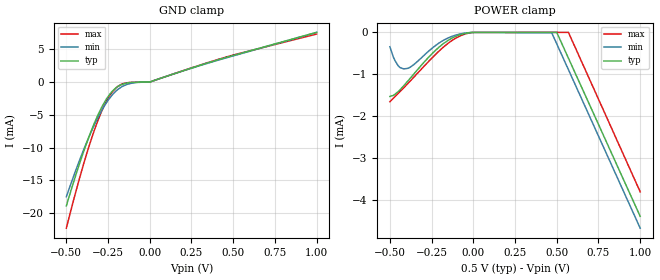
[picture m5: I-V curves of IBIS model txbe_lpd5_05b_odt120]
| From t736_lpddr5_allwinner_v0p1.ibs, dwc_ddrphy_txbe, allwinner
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[Model] txbe_lpd5_05b_odt120
Model_type   Input
Polarity   Non-Inverting
Enable   Active-High
C_comp   943.794fF   935.723fF   957.368fF
C_comp_pullup   283.296fF   275.765fF   286.366fF
C_comp_pulldown   525.211fF   523.203fF   536.037fF
Vinh = 310.000mV
Vinl = 190.000mV
[Model Spec]
D_overshoot_ampl_h 0.1 NA   NA
D_overshoot_ampl_l 0.1 NA   NA
D_overshoot_area_l 300.000m NA   NA
D_overshoot_area_h 300.000m NA   NA
[Receiver Thresholds]
Vth = 125.000mV
Vth_min = 118.000mV
Vth_max = 143.000mV
Vinh_ac = 60.000mV
Vinh_dc = 60.000mV
Vinl_ac = -60.000mV
Vinl_dc = -60.000mV
Tslew_ac = 5.000ns
Threshold_sensitivity = 0.5
Reference_supply Power_clamp_ref
[Temperature Range]   25.000   125.000   -40.000
[Voltage Range]   500.000mV   470.000mV   570.000mV
[GND Clamp Reference]   0.00V   0.00V   0.00V
[C Comp Corner]
| variable   typ   min   max
C_comp   943.794fF   935.723fF   957.368fF
C_comp_pullup   283.296fF   275.765fF   286.366fF
C_comp_pulldown   525.211fF   523.203fF   536.037fF
[POWER Clamp Reference]   500.000mV   470.000mV   570.000mV
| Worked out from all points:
|   GND clamp passes 1 mA (typ) near -0.21 V on its own axis
|   POWER clamp passes 1 mA (typ) near -0.36 V on its own axis
[GND Clamp]
-500mV    -18.9mA    -17.51mA   -22.3mA
-450mV    -14.74mA   -13.93mA   -17.39mA
-400mV    -10.88mA   -10.58mA   -12.82mA
-330mV    -6.155mA   -6.429mA   -7.201mA
-290mV    -3.952mA   -4.434mA   -4.561mA
-260mV    -2.606mA   -3.167mA   -2.945mA
-230mV    -1.562mA   -2.124mA   -1.694mA
-190mV    -659.3uA   -1.107mA   -638uA
-110mV    -70.37uA   -189.1uA   -45.67uA
0V        0A         0A         0A
470mV     3.838mA    3.772mA    3.899mA
1V        7.578mA    7.577mA    7.322mA
[Power Clamp]
-500mV    -1.529mA   -344uA     -1.655mA
-480mV    -1.505mA   -582.4uA   -1.575mA
-450mV    -1.412mA   -799uA     -1.455mA
-390mV    -1.15mA    -855.2uA   -1.21mA
-210mV    -368.6uA   -266.8uA   -463uA
-130mV    -140.8uA   -97.4uA    -199uA
-70mV     -45.2uA    -30.6uA    -69uA
0V        -1.31uA    -998.5nA   -2.502uA
470mV     -1.141uA   -10.65uA   -234.6nA
500mV     -1.221uA   -274.4uA   -251.2nA
570mV     -615.6uA   -890uA     -290.5nA
1V        -4.389mA   -4.671mA   -3.804mA
